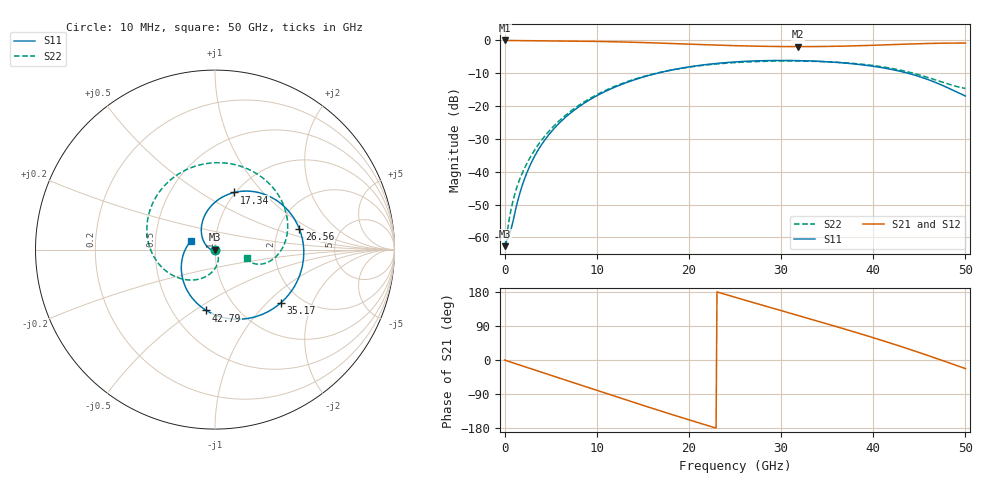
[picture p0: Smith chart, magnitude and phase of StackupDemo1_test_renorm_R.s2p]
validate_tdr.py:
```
"""
TDR 算法验证脚本
测试文件: samples/StackupDemo1_test_renorm_R.s2p
验证目标: TDR 阻抗结果应在 30-100 Ω 合理区间内
"""
import sys, os
import numpy as np
import skrf as rf
import matplotlib
matplotlib.use("QtAgg")
import matplotlib.pyplot as plt
import sys as _sys
plt.rcParams["font.sans-serif"] = ["SimHei"] if _sys.platform == "win32" else ["WenQuanYi Zen Hei"]
plt.rcParams["axes.unicode_minus"] = False

sys.path.insert(0, os.path.dirname(__file__))
from sparam_core import compute_time_domain, td_default_params

TEST_FILE = os.path.join(os.path.dirname(__file__),
                         "samples", "StackupDemo1_test_renorm_R.s2p")

ntw = rf.Network(TEST_FILE)
defaults = td_default_params(ntw)

print("=" * 55)
print("TDR 算法验证")
print("=" * 55)
print(f"文件    : {os.path.basename(TEST_FILE)}")
print(f"频率    : {ntw.f[0]/1e9:.4f} ~ {ntw.f[-1]/1e9:.1f} GHz  ({len(ntw.f)} 点)")
print(f"默认参数: tr={defaults['tr_ps']:.1f}ps  dt={defaults['dt_ps']:.1f}ps  "
      f"n={defaults['n_points']}")
print()

# ── 合成已知阻抗剖面验证算法 ──────────────────────────────────────
print("── 合成验证 (已知: 50→100→50Ω) ──")
import skrf as rf2
from skrf.network import Network
Gamma1 = (100 - 50) / (100 + 50)   # +1/3
Gamma2 = (50 - 100) / (50 + 100)   # -1/3
tau1, tau2 = 0.5e-9, 1.0e-9
f_syn = np.linspace(0, 50e9, 501)
s11_syn = (Gamma1 * np.exp(-1j * 4 * np.pi * f_syn * tau1) +
           Gamma2 * np.exp(-1j * 4 * np.pi * f_syn * tau2))
freq_syn = rf2.Frequency.from_f(f_syn, unit="hz")
ntw_syn = rf2.Network(frequency=freq_syn,
                      s=s11_syn.reshape(-1, 1, 1),
                      z0=50.0)
r_syn = compute_time_domain(ntw_syn, 1, 1, "TDR")
t_syn, z_syn = r_syn["time_ps"], r_syn["y_data"]
mask_100 = (t_syn > 800) & (t_syn < 1200)
print(f"  期望 ~100Ω (t=0.8~1.2ns):  实测 [{z_syn[mask_100].min():.1f}, {z_syn[mask_100].max():.1f}] Ω")
passed_syn = z_syn[mask_100].max() > 90.0
print(f"  {'PASS' if passed_syn else 'FAIL'}  (预期 >90Ohm)")

# ── 实测文件 TDR ──────────────────────────────────────────────────
print()
print("── 实测文件 TDR ──")
result = compute_time_domain(ntw, 1, 1, "TDR")
t, z = result["time_ps"], result["y_data"]

z_max = z.max(); z_min = z.min()
t_zmax = t[np.argmax(z)]; t_zmin = t[np.argmin(z)]
print(f"  Z 范围 : {z_min:.1f} ~ {z_max:.1f} Ω")
print(f"  Z 最大 : {z_max:.1f} Ω  @ t = {t_zmax:.0f} ps")
print(f"  Z 最小 : {z_min:.1f} Ω  @ t = {t_zmin:.0f} ps")

in_range = (z_min >= 20) and (z_max <= 150) and (z_min < 45 or z_max > 55)
print(f"  {'PASS' if in_range else 'FAIL'}  (期望: 30~100Ohm 范围内有变化)")

# ── 绘图 ──────────────────────────────────────────────────────────
fig, axes = plt.subplots(1, 2, figsize=(12, 4))

# 左图：合成验证
ax0 = axes[0]
ax0.plot(t_syn / 1000, z_syn, "b-", lw=1.5)
ax0.axhline(100, color="gray", ls="--", lw=0.8, label="期望 100Ω")
ax0.axhline(50,  color="gray", ls=":",  lw=0.8, label="参考 50Ω")
ax0.set_xlabel("时间 (ns)")
ax0.set_ylabel("阻抗 (Ω)")
ax0.set_title("合成验证：50→100→50Ω")
ax0.legend(fontsize=8)
ax0.set_ylim(30, 120)
ax0.set_xlim(0, t_syn[-1] / 1000)
ax0.grid(True, alpha=0.4)

# 右图：实测文件
ax1 = axes[1]
mask_early = t < 2000   # 只看前 2 ns
ax1.plot(t[mask_early] / 1000, z[mask_early], "r-", lw=1.5)
ax1.axhline(50, color="gray", ls="--", lw=0.8, label="参考 50Ω")
ax1.set_xlabel("时间 (ns)")
ax1.set_ylabel("阻抗 (Ω)")
ax1.set_title(f"TDR: {os.path.basename(TEST_FILE)}\n"
              f"Z [{z_min:.1f}, {z_max:.1f}] Ω")
ax1.legend(fontsize=8)
ax1.grid(True, alpha=0.4)

plt.tight_layout()
plt.savefig(os.path.join(os.path.dirname(__file__), "test_tdr_result.png"), dpi=120)
print()
print(f"图像已保存: test_tdr_result.png")
plt.show()
```
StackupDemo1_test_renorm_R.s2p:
! Created with skrf (http://scikit-rf.org).
# GHz S RI R 50.0
! Port[1] = signal_pkg_L4_trace_N_T1
! Port[2] = signal_BGA_N_0_T1
!freq ReS11 ImS11 ReS21 ImS21 ReS12 ImS12 ReS22 ImS22
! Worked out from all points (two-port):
!   500 points, 10 MHz to 50 GHz, reference 50 ohm
!   highest |S21| = -0.01 dB at 10 MHz (marker M1); lowest = -1.9 dB at 31.87 GHz (marker M2)
!   |S21| within 3 dB of the highest: start of sweep to end of sweep
!   lowest |S11| = -62.7 dB at 10 MHz (marker M3), VSWR 1.00, Z = 50.1 + j0.00109 ohm
!   |S11| at or under -10 dB: start of sweep to 16.55 GHz; 43.78 GHz to end of sweep
!   |S22| runs from -62.7 to -6.3 dB; largest |S21 - S12| = 3.2e-10
!   S11 on the Smith chart (normalised r, x): 10 MHz: 1.00, +0.00; 17.34 GHz: 0.99, +0.71; 26.56 GHz: 2.60, +0.79; 35.17 GHz: 1.60, -1.21; 42.79 GHz: 0.73, -0.56; 50 GHz: 0.76, +0.08
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0.01  0.000736 1.08e-05  0.9992 -0.00151  0.9992 -0.00151  0.000737 1e-05
1.713066  -0.00377 -0.00326  0.9656 -0.2383  0.9656 -0.2383  0.00544 -0.00602
5.019018  -0.0382 0.0116  0.7531 -0.6368  0.7531 -0.6368  0.0182 -0.0406
11.02984  -0.0704 0.1545  0.0316 -0.9598  0.0316 -0.9598  -0.0729 -0.1596
17.3412  0.1071 0.3182  -0.6699 -0.6105  -0.6699 -0.6105  -0.3332 -0.0517
25.05509  0.4337 0.184  -0.8043 0.2122  -0.8043 0.2122  -0.2489 0.3875
26.5578  0.4694 0.1167  -0.7418 0.3532  -0.7418 0.3532  -0.1665 0.4419
31.86735  0.4688 -0.1515  -0.3694 0.7152  -0.3694 0.7152  0.1651 0.4565
35.17331  0.368 -0.2955  -0.0573 0.8094  -0.0573 0.8094  0.3261 0.3412
42.78701  -0.0489 -0.3389  0.6911 0.5298  0.6911 0.5298  0.3562 -0.0209
50  -0.1337 0.0489  0.8416 -0.3508  0.8416 -0.3508  0.1797 -0.0474
